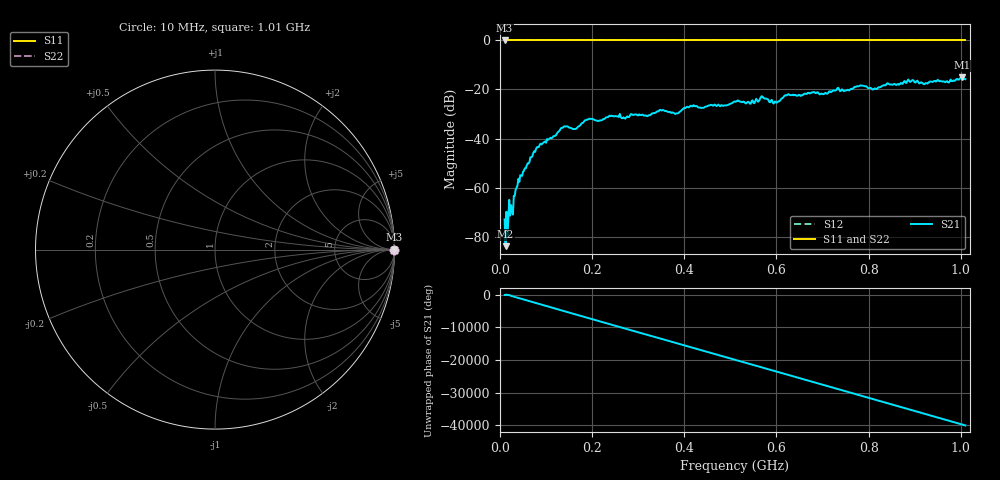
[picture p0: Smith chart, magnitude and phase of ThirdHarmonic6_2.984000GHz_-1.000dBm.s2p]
! 8/17/2025 8:29:12 AM
! C:\ANRITSUVNA\TEMP\TEMP.S2P
! CHANNEL.1
! TR.MEASUREMENT
! RAW.DATA
! RF.CORRECTION.OFF
! AVERAGING.OFF
! IF.BANDWIDTH: 5KHZ
! SWEEPTYPE:  FREQ.SWEEP(Linear)
! Reference Plane Port Info
! PORT:  PORT1  PORT2
! DISTANCE:  0  m  0  m
! TIME:  0  s  0  s
! PHASE.OFFSET:  0  deg.  0  deg.
! LOSS:  0  dB  0  dB
! REF.LOSS:  0  dB  0  dB
! REF.FREQ:  0  Hz  0  Hz
! Power Info
! POWER:  -20  dBm  -20  dBm
! EFF.POWER:  -20  dBm  -20  dBm
! SOURCE.ATTEN:  0  dB  0  dB
! TEST.ATTEN:  0  dB  0  dB
# GHZ S RI R 50.0
! FREQ.GHZ  S11RE  S11IM  S21RE  S21IM  S12RE  S12IM  S22RE  S22IM
!; PortSelection: Port_12
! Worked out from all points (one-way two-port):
!   501 points, 10 MHz to 1.01 GHz, reference 50 ohm
!   highest |S21| = -15.08 dB at 1.002 GHz (marker M1); lowest = -83.9 dB at 12 MHz (marker M2)
!   lowest |S11| = 0.0 dB at 10 MHz (marker M3)
!   |S11| at or under -10 dB: nowhere
!   |S22| runs from 0.0 to 0.0 dB; largest |S21 - S12| = 1.2
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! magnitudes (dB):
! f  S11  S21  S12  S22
! 10 MHz  0.0  -73.0  0.0  0.0
! 12 MHz  0.0  -83.9  0.0  0.0
! 26 MHz  0.0  -69.9  0.0  0.0
! 42 MHz  0.0  -57.7  0.0  0.0
! 76 MHz  0.0  -45.5  0.0  0.0
! 136 MHz  0.0  -35.7  0.0  0.0
! 162 MHz  0.0  -36.1  0.0  0.0
! 178 MHz  0.0  -33.7  0.0  0.0
! 344 MHz  0.0  -28.9  0.0  0.0
! 384 MHz  0.0  -29.7  0.0  0.0
! 416 MHz  0.0  -26.9  0.0  0.0
! 510 MHz  0.0  -24.9  0.0  0.0
! 548 MHz  0.0  -24.4  0.0  0.0
! 570 MHz  0.0  -23.0  0.0  0.0
! 596 MHz  0.0  -25.0  0.0  0.0
! 622 MHz  0.0  -22.4  0.0  0.0
! 678 MHz  0.0  -21.2  0.0  0.0
! 784 MHz  0.0  -18.4  0.0  0.0
! 814 MHz  0.0  -19.6  0.0  0.0
! 844 MHz  0.0  -17.8  0.0  0.0
! 1.002 GHz  0.0  -15.1  0.0  0.0
! 1.01 GHz  0.0  -15.8  0.0  0.0
